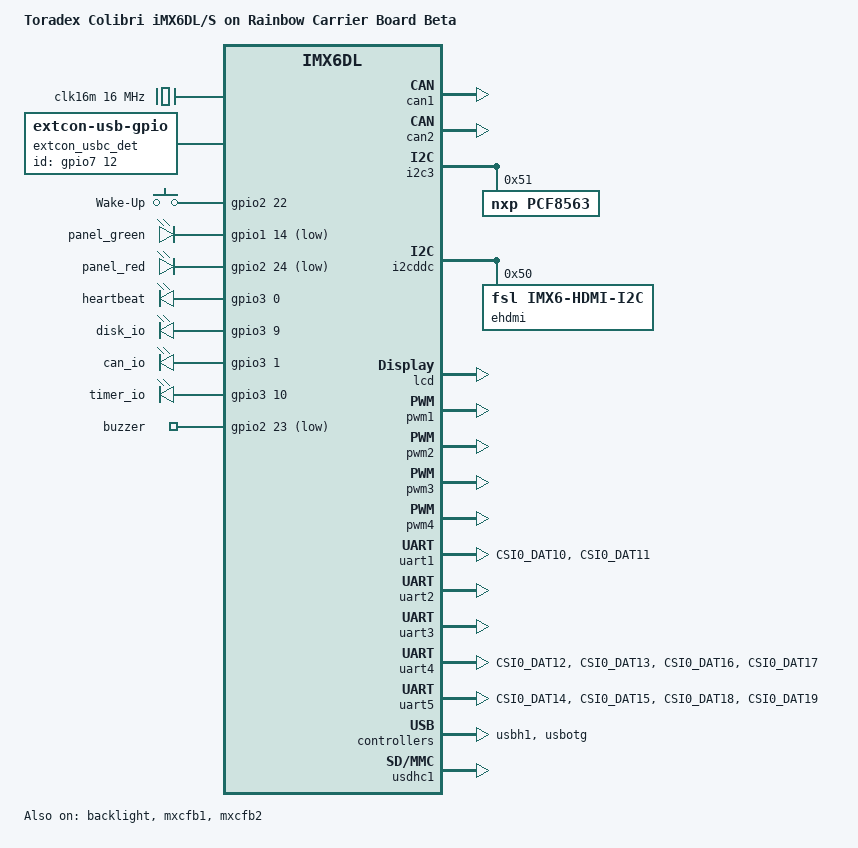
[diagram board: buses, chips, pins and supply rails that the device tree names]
/*
 * Copyright 2014-2015 Toradex AG
 * Copyright 2012 Freescale Semiconductor, Inc.
 * Copyright 2011 Linaro Ltd.
 *
 * The code contained herein is licensed under the GNU General Public
 * License. You may obtain a copy of the GNU General Public License
 * Version 2 or later at the following locations:
 *
 * http://www.opensource.org/licenses/gpl-license.html
 * http://www.gnu.org/copyleft/gpl.html
 */

/dts-v1/;

#include <dt-bindings/input/input.h>
#include <dt-bindings/interrupt-controller/irq.h>
#include "imx6dl.dtsi"
#include "imx6qdl-colibri.dtsi"

/* Add the following define if you connect a Fusion display with a capacitive
   touch controller */
/* #define PCAP */

/ {
	model = "Toradex Colibri iMX6DL/S on Rainbow Carrier Board Beta";
	compatible = "toradex,colibri_imx6dl-eval", "toradex,colibri_imx6dl", "fsl,imx6dl";

	aliases {
		i2c0 = &i2cddc;
		i2c1 = &i2c2;
		i2c2 = &i2c3;
	};

	aliases {
		rtc0 = &pcf8563;
		rtc1 = "/soc/aips-bus@02000000/snvs@020cc000/snvs-rtc-lp@34";
	};

	aliases {
		/* the following, together with kernel patches, forces a fixed assignment
		   between device id and usdhc controller */
		/* i.e. the eMMC on usdhc3 will be /dev/mmcblk0 */
		mmc0 = &usdhc3; /* eMMC */
		mmc1 = &usdhc1; /* MMC 4bit slot */
	};
	
    clocks {
		/* fixed crystal dedicated to mpc258x */
		clk16m: clk@1 {
			compatible = "fixed-clock";
			reg=<1>;
			#clock-cells = <0>;
			clock-frequency = <16000000>;
			clock-output-names = "clk16m";
		};
	};

	extcon_usbc_det: usbc_det {
		compatible = "linux,extcon-usb-gpio";
		debounce = <25>;
		id-gpio = <&gpio7 12 GPIO_ACTIVE_HIGH>;
		pinctrl-names = "default";
		pinctrl-0 = <&pinctrl_usbc_det_1>;
	};

	gpio-keys {
		compatible = "gpio-keys";
		pinctrl-names = "default";
		pinctrl-0 = <&pinctrl_gpio_keys>;

		wakeup {
			label = "Wake-Up";
			gpios = <&gpio2 22 GPIO_ACTIVE_HIGH>;
			linux,code = <KEY_WAKEUP>;
			debounce-interval = <10>;
			gpio-key,wakeup;
		};
	};

    leds {
        compatible = "gpio-leds";
        pinctrl-names = "default";
        pinctrl-0 = <&pinctrl_gpio_leds>;

        led2: panel_green {
            label = "panel_green";
            gpios = <&gpio1 14 GPIO_ACTIVE_LOW>;
            default-state = "on";
            linux,default-trigger = "default-on";
        };

        led3: panel_red {
            label = "panel_red";
            gpios = <&gpio2 24 GPIO_ACTIVE_LOW>;
            default-state = "off";
            linux,default-trigger = "";
        };

        led4: heartbeat {
            label = "heartbeat";
            gpios = <&gpio3 0 GPIO_ACTIVE_HIGH>;
            default-state = "off";
            linux,default-trigger = "heartbeat";
        };

        led5: disk_io {
            label = "disk_io";
            gpios = <&gpio3 9 GPIO_ACTIVE_HIGH>;
            default-state = "off";
            linux,default-trigger = "disk-activity";
        };

        led6: can_io {
            label = "can_io";
            gpios = <&gpio3 1 GPIO_ACTIVE_HIGH>;
            default-state = "off";
            linux,default-trigger = "can1";
        };

        led7: timer_io {
            label = "timer_io";
            gpios = <&gpio3 10 GPIO_ACTIVE_HIGH>;
            default-state = "off";
            linux,default-trigger = "timer";
        };

        led8: buzzer {
            label = "buzzer";
            gpios = <&gpio2 23 GPIO_ACTIVE_LOW>;
            default-state = "off";
            linux,default-trigger = "";
        };

    };

	regulators {
		reg_usb_host_vbus: usb_host_vbus {
			status = "okay";
		};
	};
};

&backlight {
#if 0 /* PWM polarity: if 1 is brightest */
	pwms = <&pwm3 0 5000000 0>;
#if 0 /* Fusion 7 needs 10kHz PWM frequency */
	pwms = <&pwm3 0 100000 0>;
#endif
#else /* PWM polarity: if 0 is brightest */
	pwms = <&pwm3 0 5000000 1>;
#endif
	enable-gpios = <&gpio3 26 GPIO_ACTIVE_LOW>;
	brightness-levels = <0 4 8 16 32 64 128 255>;
	default-brightness-level = <6>;
	status = "okay";
};


/* Colibri SDDIMM 186/184 */
&can1 {
	status = "okay";
};

/*Colibri SDDIMM 188/178*/
&can2 {
	status = "okay";
};



/* Colibri SPI */
&ecspi4 {
	status = "disabled";
};

&hdmi_audio {
	status = "disabled";
};

&hdmi_core {
	status = "disabled";
};

&hdmi_video {
	status = "disabled";
};

/*
 * I2C: I2C3_SDA/SCL on SODIMM 194/196 (e.g. RTC on carrier
 * board)
 */
&i2c3 {
	status = "okay";

    pcf8563: pcf8563@51 {
        compatible = "nxp,pcf8563";
        reg = <0x51>;
    };
};

/*
 * DDC_I2C: I2C2_SDA/SCL on extension connector pin 15/16
 */
&i2cddc {
	status = "okay";

	ehdmi: edid@50 {
		compatible = "fsl,imx6-hdmi-i2c";
		reg = <0x50>;
	};
};

&iomuxc {
	/*
	 * Mux all pins which are unused to be GPIOs
	 * so they are ready for export to user space
	 */
	pinctrl-names = "default";
	pinctrl-0 = <&pinctrl_csi_gpio_1
	             &pinctrl_gpio_1
	             &pinctrl_usbh_oc_1 &pinctrl_usbc_id_1>;
/*
	pinctrl-0 = <&pinctrl_weim_gpio_1 &pinctrl_weim_gpio_2
	             &pinctrl_weim_gpio_3 &pinctrl_weim_gpio_4
	             &pinctrl_weim_gpio_5 &pinctrl_weim_gpio_6
	             &pinctrl_csi_gpio_1
	             &pinctrl_gpio_1
	             &pinctrl_gpio_2
	             &pinctrl_usbh_oc_1 &pinctrl_usbc_id_1>;
*/
	gpio {
		/*move from imx6qdl-colibri.dtsi*/
		pinctrl_gpio_1: gpio-1 {
			fsl,pins = <
				MX6QDL_PAD_EIM_D27__GPIO3_IO27      PAD_CTRL_HYS_PU
				MX6QDL_PAD_NANDF_D6__GPIO2_IO06     PAD_CTRL_HYS_PU
				MX6QDL_PAD_NANDF_D3__GPIO2_IO03     PAD_CTRL_HYS_PU
				MX6QDL_PAD_ENET_REF_CLK__GPIO1_IO23 PAD_CTRL_HYS_PU
				MX6QDL_PAD_DI0_PIN4__GPIO4_IO20     PAD_CTRL_HYS_PU
				MX6QDL_PAD_SD4_DAT3__GPIO2_IO11     PAD_CTRL_HYS_PU
				MX6QDL_PAD_NANDF_D4__GPIO2_IO04     PAD_CTRL_HYS_PU
				MX6QDL_PAD_SD4_DAT0__GPIO2_IO08     PAD_CTRL_HYS_PU
                MX6QDL_PAD_EIM_D19__GPIO3_IO19      PAD_CTRL_HYS_PU
                MX6QDL_PAD_EIM_D23__GPIO3_IO23      PAD_CTRL_HYS_PU
                MX6QDL_PAD_EIM_DA2__GPIO3_IO02      PAD_CTRL_HYS_PU
                MX6QDL_PAD_EIM_DA8__GPIO3_IO08      PAD_CTRL_HYS_PU
                MX6QDL_PAD_EIM_DA11__GPIO3_IO11     PAD_CTRL_HYS_PU
                MX6QDL_PAD_EIM_DA3__GPIO3_IO03      PAD_CTRL_HYS_PU
                MX6QDL_PAD_EIM_DA12__GPIO3_IO12     PAD_CTRL_HYS_PU
                MX6QDL_PAD_EIM_DA7__GPIO3_IO07      PAD_CTRL_HYS_PU
			>;
		};

		pinctrl_pcap_1: pcap-1 {
			fsl,pins = <
				MX6QDL_PAD_GPIO_9__GPIO1_IO09	PAD_CTRL_HYS_PD /* SODIMM 28 */
				MX6QDL_PAD_SD4_DAT2__GPIO2_IO10	PAD_CTRL_HYS_PD /* SODIMM 30 */
			>;
		};

        pinctrl_gpio_leds: gpioleds {
            fsl,pins = <
                MX6QDL_PAD_EIM_CS1__GPIO2_IO24	PAD_CTRL_HYS_PD /* SODIMM 107 */
                MX6QDL_PAD_SD2_DAT1__GPIO1_IO14	PAD_CTRL_HYS_PD /* SODIMM 106 */
                MX6QDL_PAD_EIM_DA0__GPIO3_IO00  PAD_CTRL_HYS_PD
                MX6QDL_PAD_EIM_DA9__GPIO3_IO09  PAD_CTRL_HYS_PD
                MX6QDL_PAD_EIM_DA1__GPIO3_IO01  PAD_CTRL_HYS_PD
                MX6QDL_PAD_EIM_DA10__GPIO3_IO10 PAD_CTRL_HYS_PD
                MX6QDL_PAD_EIM_CS0__GPIO2_IO23  PAD_CTRL_HYS_PD
            >;
        };

	};
    
    flexcan1 {
        pinctrl_flexcan1: flexcan1grp {
            fsl,pins = <
                MX6QDL_PAD_KEY_COL2__FLEXCAN1_TX   PAD_CTRL_HYS_PU
                MX6QDL_PAD_KEY_ROW2__FLEXCAN1_RX   PAD_CTRL_HYS_PU
            >;
        };
    };

    /*move from imx6qdl-colibri.dtsi*/
	uart1 {
		pinctrl_uart1_dte: uart1-dtegrp { /* DTE mode */
			fsl,pins = <
				MX6QDL_PAD_CSI0_DAT10__UART1_RX_DATA 0x1b0b1
				MX6QDL_PAD_CSI0_DAT11__UART1_TX_DATA 0x1b0b1
			>;
		};
	};

    uart4 {
        pinctrl_uart4_dte: uart4grp-dte { /* DTE mode */
            fsl,pins = <
                MX6QDL_PAD_CSI0_DAT12__UART4_RX_DATA    0x1b0b1
                MX6QDL_PAD_CSI0_DAT13__UART4_TX_DATA    0x1b0b1
                MX6QDL_PAD_CSI0_DAT16__UART4_CTS_B      0x1b0b1
                MX6QDL_PAD_CSI0_DAT17__UART4_RTS_B      0x1b0b1
            >;
        };
    };

    uart5 {
        pinctrl_uart5_dte: uart5grp-dte { /* DTE mode */
            fsl,pins = <
                MX6QDL_PAD_CSI0_DAT14__UART5_RX_DATA    0x1b0b1
                MX6QDL_PAD_CSI0_DAT15__UART5_TX_DATA    0x1b0b1
                MX6QDL_PAD_CSI0_DAT18__UART5_CTS_B      0x1b0b1
                MX6QDL_PAD_CSI0_DAT19__UART5_RTS_B      0x1b0b1
            >;
        };
    };

	/delete-node/ weim;  /*move from imx6qdl-colibri.dtsi*/
};

&lcd {
	status = "okay";
};

&mxcfb1 {
	status = "okay";
};

&mxcfb2 {
	status = "okay";
};

#ifndef PCAP
&pwm1 {
	status = "okay";
};
#endif

&pwm2 {
	status = "okay";
};

&pwm3 {
	status = "okay";
};

#ifndef PCAP
&pwm4 {
	status = "okay";
};
#endif

&uart1 {  
	pinctrl-0 = <&pinctrl_uart1_dte>;   
	/delete-property/ fsl,uart-has-rtscts;  /*move from imx6qdl-colibri.dtsi*/
	status = "okay";
};

&uart2 {
	status = "okay";
	linux,rs485-enabled-at-boot-time;
	rs485-rts-active-low;
    rs485-rx-during-tx;
};

&uart3 {
	status = "okay";
};

&uart4 {
    status = "okay";
    pinctrl-names = "default";
    pinctrl-0 = <&pinctrl_uart4_dte>;
    fsl,dte-mode;
    fsl,uart-has-rtscts;
    linux,rs485-enabled-at-boot-time;
};

&uart5 {
    status = "okay";
    pinctrl-names = "default";
    pinctrl-0 = <&pinctrl_uart5_dte>;
    fsl,dte-mode;
    fsl,uart-has-rtscts;
    linux,rs485-enabled-at-boot-time;
};

&usbh1 {
	status = "okay";
};

&usbotg {
	status = "okay";
	extcon = <&extcon_usbc_det>;
};

/* MMC */
&usdhc1 {
	status = "okay";
};

/delete-node/ &weim; 

